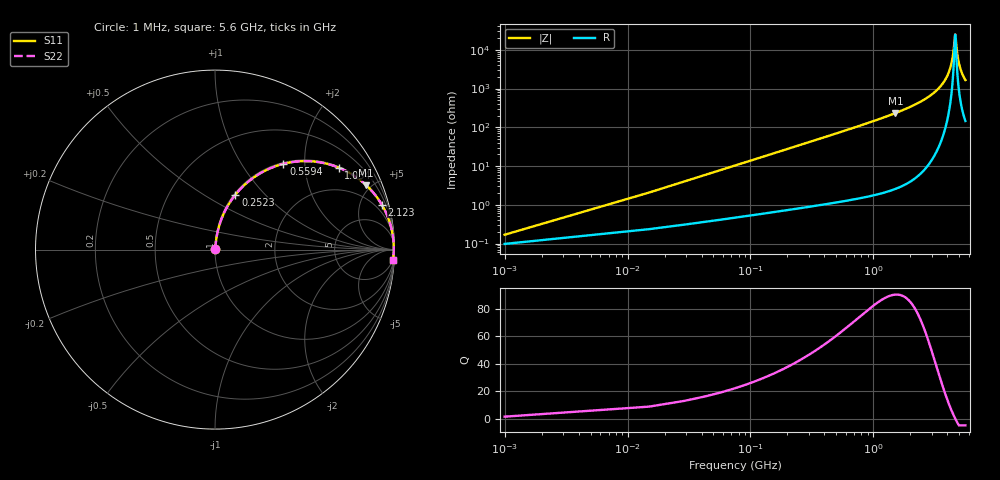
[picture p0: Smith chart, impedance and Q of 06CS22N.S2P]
! Coilcraft 0603CS-22N Chip Inductor
! 21 May 2002
# MHZ S MA R 50
!Freq  MagS11  AngS11  MagS21  AngS21  MagS12  AngS12  MagS22  AngS22
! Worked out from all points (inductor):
!   403 points, 1 MHz to 5.6 GHz, reference 50 ohm
!   read as one part in series: L = 21.9 nH near 28.92 MHz
!   highest Q = 90.5 at 1.509 GHz (marker M1), where L = 24.5 nH
!   self-resonance near 4.622 GHz
!   S11 on the Smith chart (normalised r, x): 1 MHz: 1.00, +0.00; 252.3 MHz: 1.02, +0.70; 559.4 MHz: 1.02, +1.56; 1.034 GHz: 1.04, +3.00; 2.123 GHz: 1.09, +7.40; 5.6 GHz: 4, -33
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1  0.001688 54.5  0.999 -0.1  0.999 -0.1  0.001688 54.5
42.88  0.0588 83.1  0.9947 -3.4  0.9947 -3.4  0.0588 83.1
70.8  0.09666 81.8  0.9908 -5.5  0.9908 -5.5  0.09666 81.8
140.6  0.1891 77.3  0.9759 -10.9  0.9759 -10.9  0.1891 77.3
252.28  0.3265 69.6  0.9376 -19.1  0.9376 -19.1  0.3265 69.6
559.4  0.611 51.4  0.7821 -37.7  0.7821 -37.7  0.611 51.4
936.32  0.7974 36.4  0.5936 -52.9  0.5936 -52.9  0.7974 36.4
1034.04  0.8271 33.5  0.5522 -55.8  0.5522 -55.8  0.8271 33.5
1508.68  0.9148 23.2  0.3938 -66.2  0.3938 -66.2  0.9148 23.2
1871.64  0.9479 17.9  0.3079 -71.4  0.3079 -71.4  0.9479 17.9
2122.92  0.9624 15.1  0.2601 -74.2  0.2601 -74.2  0.9624 15.1
2806.96  0.9841 9.3  0.1611 -79.7  0.1611 -79.7  0.9841 9.3
3742.28  0.9946 3.8  0.06696 -83.4  0.06696 -83.4  0.9946 3.8
4244.84  0.996 1.6  0.02736 -80.9  0.02736 -80.9  0.996 1.6
4440.28  0.9961 0.7  0.01356 -73.0  0.01356 -73.0  0.9961 0.7
4607.8  0.996 0.1  0.004222 -19.8  0.004222 -19.8  0.996 0.1
4635.72  0.996 -0.0  0.004028 6.5  0.004028 6.5  0.996 -0.0
4677.6  0.9959 -0.2  0.005202 38.7  0.005202 38.7  0.9959 -0.2
4803.24  0.9957 -0.7  0.01229 69.4  0.01229 69.4  0.9957 -0.7
4984.72  0.9953 -1.3  0.02357 77.9  0.02357 77.9  0.9953 -1.3
5249.96  0.9945 -2.3  0.03968 80.8  0.03968 80.8  0.9945 -2.3
5600  0.993 -3.4  0.05992 81.5  0.05992 81.5  0.993 -3.4
